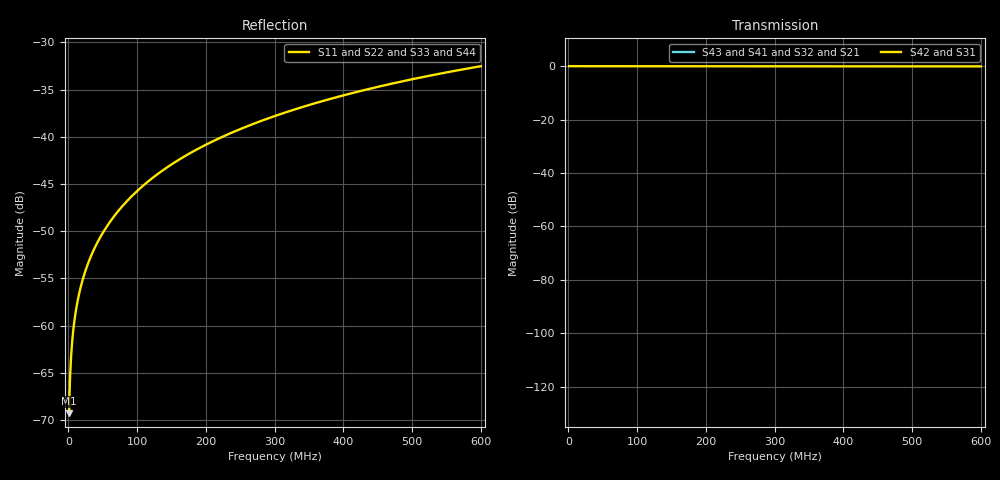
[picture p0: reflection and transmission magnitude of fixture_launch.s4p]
! synthetic launch fixture: ports 1,2 VNA side; 3,4 DUT side
! synthetic launch + connector fixture
# Hz S RI R 50
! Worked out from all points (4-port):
!   801 points, 1 MHz to 600 MHz, reference 50 ohm
!   strongest paths, dB at 1 MHz, 150.8 MHz, 300.5 MHz, 450.2 MHz, 600 MHz:
!     S42: 0.0, 0.0, -0.1, -0.1, -0.1
!     S31: 0.0, 0.0, -0.1, -0.1, -0.1
!     S43: -, -, -, -, -
!     S41: -, -, -, -, -
!     S32: -, -, -, -, -
!     S21: -, -, -, -, -
!   lowest |S11| = -69.3 dB at 1 MHz (marker M1), VSWR 1.00, Z = 50 + j0.00392 ohm
!   |S11| at or under -10 dB: start of sweep to end of sweep
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1000000  0.000341 3.92e-05  0 0  0.9997 -0.00113  0 0
         0 0  0.000341 3.92e-05  0 0  0.9997 -0.00113
         0.9997 -0.00113  0 0  0.000341 3.91e-05  0 0
         0 0  0.9997 -0.00113  0 0  0.000341 3.91e-05
9985000  0.00108 0.000383  0 0  0.9989 -0.0112  0 0
         0 0  0.00108 0.000383  0 0  0.9989 -0.0112
         0.9989 -0.0112  0 0  0.00108 0.000381  0 0
         0 0  0.9989 -0.0112  0 0  0.00108 0.000381
2.870375e7  0.00185 0.00108  0 0  0.9977 -0.0322  0 0
            0 0  0.00185 0.00108  0 0  0.9977 -0.0322
            0.9977 -0.0322  0 0  0.00186 0.00107  0 0
            0 0  0.9977 -0.0322  0 0  0.00186 0.00107
6.464375e7  0.00288 0.00236  0 0  0.9946 -0.0725  0 0
            0 0  0.00288 0.00236  0 0  0.9946 -0.0725
            0.9946 -0.0725  0 0  0.00294 0.00233  0 0
            0 0  0.9946 -0.0725  0 0  0.00294 0.00233
1.200512e8  0.00421 0.00423  0 0  0.9872 -0.1342  0 0
            0 0  0.00421 0.00423  0 0  0.9872 -0.1342
            0.9872 -0.1342  0 0  0.00442 0.00413  0 0
            0 0  0.9872 -0.1342  0 0  0.00442 0.00413
3.049925e8  0.00886 0.0096  0 0  0.936 -0.3345  0 0
            0 0  0.00886 0.0096  0 0  0.936 -0.3345
            0.936 -0.3345  0 0  0.0101 0.00887  0 0
            0 0  0.936 -0.3345  0 0  0.0101 0.00887
6e8  0.0185 0.0147  0 0  0.774 -0.6197  0 0
     0 0  0.0185 0.0147  0 0  0.774 -0.6197
     0.774 -0.6197  0 0  0.0219 0.0111  0 0
     0 0  0.774 -0.6197  0 0  0.0219 0.0111
